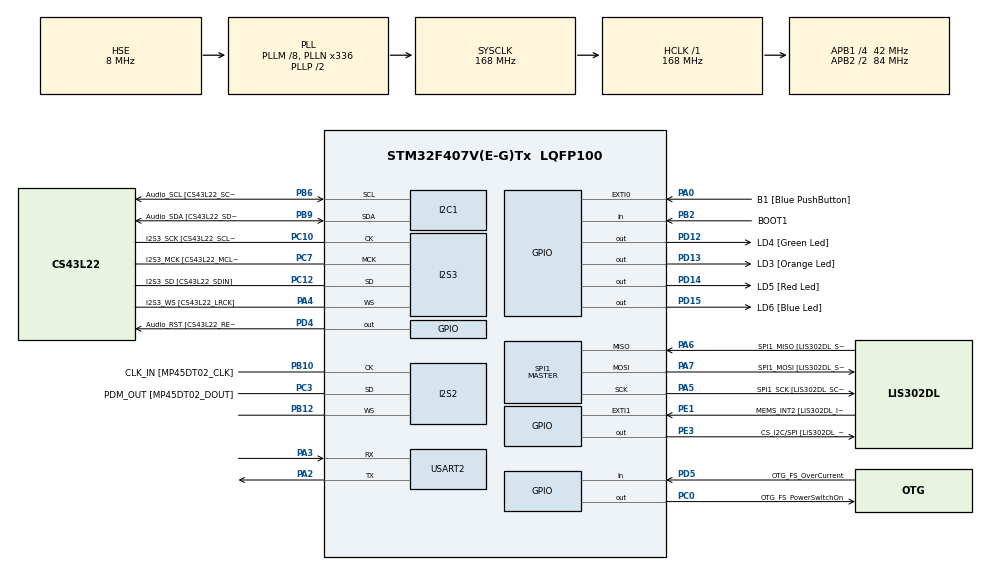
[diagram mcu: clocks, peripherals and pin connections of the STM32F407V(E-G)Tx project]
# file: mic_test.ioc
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Dma.Request0=SPI2_RX
Dma.SPI2_RX.0.Direction=DMA_PERIPH_TO_MEMORY
Dma.SPI2_RX.0.FIFOMode=DMA_FIFOMODE_DISABLE
Dma.SPI2_RX.0.Instance=DMA1_Stream3
Dma.SPI2_RX.0.MemDataAlignment=DMA_MDATAALIGN_HALFWORD
Dma.SPI2_RX.0.MemInc=DMA_MINC_ENABLE
Dma.SPI2_RX.0.Mode=DMA_CIRCULAR
Dma.SPI2_RX.0.PeriphDataAlignment=DMA_PDATAALIGN_HALFWORD
Dma.SPI2_RX.0.PeriphInc=DMA_PINC_DISABLE
Dma.SPI2_RX.0.Priority=DMA_PRIORITY_LOW
I2S2.AudioFreq=I2S_AUDIOFREQ_32K
I2S2.ErrorAudioFreq=-0.26 %
I2S2.FullDuplexMode=I2S_FULLDUPLEXMODE_DISABLE
I2S2.Instance=SPI$Index
I2S2.Mode=I2S_MODE_MASTER_RX
I2S2.RealAudioFreq=31.914 KHz
I2S2.Standard=I2S_STANDARD_LSB
I2S2.VirtualMode=I2S_MODE_MASTER
I2S3.AudioFreq-Half_Duplex_Master=I2S_AUDIOFREQ_96K
I2S3.ErrorAudioFreq=-2.34 %
I2S3.ErrorAudioFreq-Half_Duplex_Master=0.8 %
I2S3.FullDuplexMode=I2S_FULLDUPLEXMODE_DISABLE
I2S3.Instance=SPI$Index
I2S3.RealAudioFreq=93.75 KHz
I2S3.RealAudioFreq-Half_Duplex_Master=96.774 KHz
I2S3.VirtualMode=I2S_MODE_MASTER
Mcu.Family=STM32F4
Mcu.Name=STM32F407V(E-G)Tx
Mcu.Package=LQFP100
NVIC.DMA1_Stream3_IRQn=true\:0\:0\:false\:false\:true\:false\:true\:true
NVIC.PriorityGroup=NVIC_PRIORITYGROUP_0
PA0-WKUP.GPIO_Label=B1 [Blue PushButton]
PA0-WKUP.GPIO_ModeDefaultEXTI=GPIO_MODE_EVT_RISING
PA0-WKUP.GPIO_PuPd=GPIO_NOPULL
PA0-WKUP.Signal=GPXTI0
PA10.GPIO_Label=OTG_FS_ID
PA10.GPIO_Mode=GPIO_MODE_AF_PP
PA10.GPIO_PuPd=GPIO_NOPULL
PA10.GPIO_Speed=GPIO_SPEED_FREQ_LOW
PA10.Signal=USB_OTG_FS_ID
PA11.GPIO_Label=OTG_FS_DM
PA11.GPIO_Mode=GPIO_MODE_AF_PP
PA11.GPIO_PuPd=GPIO_NOPULL
PA11.GPIO_Speed=GPIO_SPEED_FREQ_LOW
PA11.Signal=USB_OTG_FS_DM
PA12.GPIO_Label=OTG_FS_DP
PA12.GPIO_Mode=GPIO_MODE_AF_PP
PA12.GPIO_PuPd=GPIO_NOPULL
PA12.GPIO_Speed=GPIO_SPEED_FREQ_LOW
PA12.Signal=USB_OTG_FS_DP
PA13.GPIO_Label=SWDIO
PA13.Mode=Serial_Wire
PA13.Signal=SYS_JTMS-SWDIO
PA14.GPIO_Label=SWCLK
PA14.Mode=Serial_Wire
PA14.Signal=SYS_JTCK-SWCLK
PA2.Mode=Asynchronous
PA2.Signal=USART2_TX
PA3.Mode=Asynchronous
PA3.Signal=USART2_RX
PA4.GPIO_Label=I2S3_WS [CS43L22_LRCK]
PA4.GPIO_Mode=GPIO_MODE_AF_PP
PA4.GPIO_PuPd=GPIO_NOPULL
PA4.GPIO_Speed=GPIO_SPEED_FREQ_LOW
PA4.Mode=Half_Duplex_Master
PA4.Signal=I2S3_WS
PA5.GPIO_Label=SPI1_SCK [LIS302DL_SCL/SPC]
PA5.GPIO_Mode=GPIO_MODE_AF_PP
PA5.GPIO_PuPd=GPIO_NOPULL
PA5.GPIO_Speed=GPIO_SPEED_FREQ_LOW
PA5.Mode=Full_Duplex_Master
PA5.Signal=SPI1_SCK
PA6.GPIO_Label=SPI1_MISO [LIS302DL_SDO]
PA6.GPIO_Mode=GPIO_MODE_AF_PP
PA6.GPIO_PuPd=GPIO_NOPULL
PA6.GPIO_Speed=GPIO_SPEED_FREQ_LOW
PA6.Mode=Full_Duplex_Master
PA6.Signal=SPI1_MISO
PA7.GPIO_Label=SPI1_MOSI [LIS302DL_SDA/SDI/SDO]
PA7.GPIO_Mode=GPIO_MODE_AF_PP
PA7.GPIO_PuPd=GPIO_NOPULL
PA7.GPIO_Speed=GPIO_SPEED_FREQ_LOW
PA7.Mode=Full_Duplex_Master
PA7.Signal=SPI1_MOSI
PA9.GPIO_Label=VBUS_FS
PA9.GPIO_Mode=GPIO_MODE_INPUT
PA9.GPIO_PuPd=GPIO_NOPULL
PA9.Signal=USB_OTG_FS_VBUS
PB10.GPIO_Label=CLK_IN [MP45DT02_CLK]
PB10.GPIO_Mode=GPIO_MODE_AF_PP
PB10.GPIO_PuPd=GPIO_NOPULL
PB10.GPIO_Speed=GPIO_SPEED_FREQ_LOW
PB10.Mode=Half_Duplex_Master
PB10.Signal=I2S2_CK
PB12.Mode=Half_Duplex_Master
PB12.Signal=I2S2_WS
PB2.GPIO_Label=BOOT1
PB2.GPIO_Mode=GPIO_MODE_INPUT
PB2.GPIO_PuPd=GPIO_NOPULL
PB2.Signal=GPIO_Input
PB3.GPIO_Label=SWO
PB3.Signal=SYS_JTDO-SWO
PB6.GPIO_Label=Audio_SCL [CS43L22_SCL]
PB6.GPIO_Mode=GPIO_MODE_AF_OD
PB6.GPIO_Pu=GPIO_PULLUP
PB6.GPIO_PuPd=GPIO_NOPULL
PB6.GPIO_Speed=GPIO_SPEED_FREQ_LOW
PB6.Mode=I2C
PB6.Signal=I2C1_SCL
PB9.GPIO_Label=Audio_SDA [CS43L22_SDA]
PB9.GPIO_Mode=GPIO_MODE_AF_OD
PB9.GPIO_Pu=GPIO_PULLUP
PB9.GPIO_PuPd=GPIO_NOPULL
PB9.GPIO_Speed=GPIO_SPEED_FREQ_LOW
PB9.Mode=I2C
PB9.Signal=I2C1_SDA
PC0.GPIO_Label=OTG_FS_PowerSwitchOn
PC0.GPIO_PuPd=GPIO_NOPULL
PC0.GPIO_Speed=GPIO_SPEED_FREQ_LOW
PC0.PinState=GPIO_PIN_SET
PC0.Signal=GPIO_Output
PC10.GPIO_Label=I2S3_SCK [CS43L22_SCLK]
PC10.GPIO_Mode=GPIO_MODE_AF_PP
PC10.GPIO_PuPd=GPIO_NOPULL
PC10.GPIO_Speed=GPIO_SPEED_FREQ_LOW
PC10.Mode=Half_Duplex_Master
PC10.Signal=I2S3_CK
PC12.GPIO_Label=I2S3_SD [CS43L22_SDIN]
PC12.GPIO_Mode=GPIO_MODE_AF_PP
PC12.GPIO_PuPd=GPIO_NOPULL
PC12.GPIO_Speed=GPIO_SPEED_FREQ_LOW
PC12.Mode=Half_Duplex_Master
PC12.Signal=I2S3_SD
PC14-OSC32_IN.GPIO_Label=PC14-OSC32_IN
PC14-OSC32_IN.Mode=LSE-External-Oscillator
PC14-OSC32_IN.Signal=RCC_OSC32_IN
PC15-OSC32_OUT.GPIO_Label=PC15-OSC32_OUT
PC15-OSC32_OUT.Mode=LSE-External-Oscillator
PC15-OSC32_OUT.Signal=RCC_OSC32_OUT
PC3.GPIO_Label=PDM_OUT [MP45DT02_DOUT]
PC3.GPIO_Mode=GPIO_MODE_AF_PP
PC3.GPIO_PuPd=GPIO_NOPULL
PC3.GPIO_Speed=GPIO_SPEED_FREQ_LOW
PC3.Mode=Half_Duplex_Master
PC3.Signal=I2S2_SD
PC7.GPIO_Label=I2S3_MCK [CS43L22_MCLK]
PC7.GPIO_Mode=GPIO_MODE_AF_PP
PC7.GPIO_PuPd=GPIO_NOPULL
PC7.GPIO_Speed=GPIO_SPEED_FREQ_LOW
PC7.Mode=Master_Clock_Activated
PC7.Signal=I2S3_MCK
PD12.GPIO_Label=LD4 [Green Led]
PD12.GPIO_PuPd=GPIO_NOPULL
PD12.GPIO_Speed=GPIO_SPEED_FREQ_LOW
PD12.Signal=GPIO_Output
PD13.GPIO_Label=LD3 [Orange Led]
PD13.GPIO_PuPd=GPIO_NOPULL
PD13.GPIO_Speed=GPIO_SPEED_FREQ_LOW
PD13.Signal=GPIO_Output
PD14.GPIO_Label=LD5 [Red Led]
PD14.GPIO_PuPd=GPIO_NOPULL
PD14.GPIO_Speed=GPIO_SPEED_FREQ_LOW
PD14.Signal=GPIO_Output
PD15.GPIO_Label=LD6 [Blue Led]
PD15.GPIO_PuPd=GPIO_NOPULL
PD15.GPIO_Speed=GPIO_SPEED_FREQ_LOW
PD15.Signal=GPIO_Output
PD4.GPIO_Label=Audio_RST [CS43L22_RESET]
PD4.GPIO_PuPd=GPIO_NOPULL
PD4.GPIO_Speed=GPIO_SPEED_FREQ_LOW
PD4.Signal=GPIO_Output
PD5.GPIO_Label=OTG_FS_OverCurrent
PD5.GPIO_Mode=GPIO_MODE_INPUT
PD5.GPIO_PuPd=GPIO_NOPULL
PD5.Signal=GPIO_Input
PDM2PCM.CHANNEL1_endianness=PDM_FILTER_ENDIANNESS_LE
PDM2PCM.CHANNEL1_in_ptr_channels=1
PDM2PCM.CHANNEL1_mic_gain=24
PDM2PCM.CHANNEL1_out_ptr_channels=1
PE1.GPIO_Label=MEMS_INT2 [LIS302DL_INT2]
PE1.GPIO_ModeDefaultEXTI=GPIO_MODE_EVT_RISING
PE1.GPIO_PuPd=GPIO_NOPULL
PE1.Signal=GPXTI1
PE3.GPIO_Label=CS_I2C/SPI [LIS302DL_CS_I2C/SPI]
PE3.GPIO_PuPd=GPIO_NOPULL
PE3.GPIO_Speed=GPIO_SPEED_FREQ_LOW
PE3.Signal=GPIO_Output
PH0-OSC_IN.GPIO_Label=PH0-OSC_IN
PH0-OSC_IN.Mode=HSE-External-Oscillator
PH0-OSC_IN.Signal=RCC_OSC_IN
PH1-OSC_OUT.GPIO_Label=PH1-OSC_OUT
PH1-OSC_OUT.Mode=HSE-External-Oscillator
PH1-OSC_OUT.Signal=RCC_OSC_OUT
ProjectManager.HeapSize=0x200
ProjectManager.StackSize=0x400
ProjectManager.TargetToolchain=STM32CubeIDE
RCC.48MHZClocksFreq_Value=48000000
RCC.AHBFreq_Value=168000000
RCC.APB1CLKDivider=RCC_HCLK_DIV4
RCC.APB1Freq_Value=42000000
RCC.APB1TimFreq_Value=84000000
RCC.APB2CLKDivider=RCC_HCLK_DIV2
RCC.APB2Freq_Value=84000000
RCC.APB2TimFreq_Value=168000000
RCC.CortexFreq_Value=168000000
RCC.HCLKFreq_Value=168000000
RCC.HSE_VALUE=8000000
RCC.HSI_VALUE=16000000
RCC.PLLM=8
RCC.PLLN=336
RCC.PLLQ=7
RCC.PLLSourceVirtual=RCC_PLLSOURCE_HSE
RCC.SYSCLKFreq_VALUE=168000000
RCC.SYSCLKSource=RCC_SYSCLKSOURCE_PLLCLK
RCC.VCOOutputFreq_Value=336000000
SPI1.BaudRatePrescaler-Full_Duplex_Master=SPI_BAUDRATEPRESCALER_2
SPI1.CalculateBaudRate-Full_Duplex_Master=42.0 MBits/s
SPI1.Direction=SPI_DIRECTION_2LINES
SPI1.Mode=SPI_MODE_MASTER
SPI1.Mode-Full_Duplex_Master=SPI_MODE_MASTER
SPI1.VirtualType=VM_MASTER
STMicroelectronics.X-CUBE-AI.10.2.1.ActivationBufferSizeList=12864
STMicroelectronics.X-CUBE-AI.10.2.1.ActivationBuffers=pool0
STMicroelectronics.X-CUBE-AI.10.2.1.ActivationNames=pool0
STMicroelectronics.X-CUBE-AI.10.2.1.ActivationSizes=AI_NETWORK_DATA_ACTIVATION_1_SIZE
STMicroelectronics.X-CUBE-AI.10.2.1.HeapSize=0x800
STMicroelectronics.X-CUBE-AI.10.2.1.InternalRamActivationBufferMaxSize=AI_NETWORK_DATA_ACTIVATIONS_SIZE
STMicroelectronics.X-CUBE-AI.10.2.1.LatestDirectoryUsed-a3b4f0d603b5952b5f44957b132e25bcf50f8aa4314544eb0166c027848e9f79=/Users/yunusgokdemir/Downloads
STMicroelectronics.X-CUBE-AI.10.2.1.MaximumNumberOfInputLayer=1
STMicroelectronics.X-CUBE-AI.10.2.1.MaximumNumberOfOutputLayer=1
STMicroelectronics.X-CUBE-AI.10.2.1.MaximumSizeOfInputLayer=1
STMicroelectronics.X-CUBE-AI.10.2.1.MaximumSizeOfOutputLayer=1
STMicroelectronics.X-CUBE-AI.10.2.1.ModelActualCompression-a3b4f0d603b5952b5f44957b132e25bcf50f8aa4314544eb0166c027848e9f79=0.0
STMicroelectronics.X-CUBE-AI.10.2.1.ModelCompression-a3b4f0d603b5952b5f44957b132e25bcf50f8aa4314544eb0166c027848e9f79=None
STMicroelectronics.X-CUBE-AI.10.2.1.ModelFlashOccupation-a3b4f0d603b5952b5f44957b132e25bcf50f8aa4314544eb0166c027848e9f79=15112
STMicroelectronics.X-CUBE-AI.10.2.1.ModelHashList=a3b4f0d603b5952b5f44957b132e25bcf50f8aa4314544eb0166c027848e9f79
STMicroelectronics.X-CUBE-AI.10.2.1.ModelKind-a3b4f0d603b5952b5f44957b132e25bcf50f8aa4314544eb0166c027848e9f79=TFLITE
STMicroelectronics.X-CUBE-AI.10.2.1.ModelMacc-a3b4f0d603b5952b5f44957b132e25bcf50f8aa4314544eb0166c027848e9f79=1615072
STMicroelectronics.X-CUBE-AI.10.2.1.ModelName-a3b4f0d603b5952b5f44957b132e25bcf50f8aa4314544eb0166c027848e9f79=network
STMicroelectronics.X-CUBE-AI.10.2.1.ModelNameList=network
STMicroelectronics.X-CUBE-AI.10.2.1.ModelRamOccupation-a3b4f0d603b5952b5f44957b132e25bcf50f8aa4314544eb0166c027848e9f79=12864
STMicroelectronics.X-CUBE-AI.10.2.1.ModelStructureFile-a3b4f0d603b5952b5f44957b132e25bcf50f8aa4314544eb0166c027848e9f79=/Users/yunusgokdemir/Downloads/kws_int8_v3.tflite
STMicroelectronics.X-CUBE-AI.10.2.1.ModelType-a3b4f0d603b5952b5f44957b132e25bcf50f8aa4314544eb0166c027848e9f79=STM32Cube.AI MCU runtime
STMicroelectronics.X-CUBE-AI.10.2.1.ReadyForCodeGeneration=true
STMicroelectronics.X-CUBE-AI.10.2.1.StackSize=0x800
STMicroelectronics.X-CUBE-AI.10.2.1.WorkingBufferStartAddrList=0xFFFFFFFF
STMicroelectronics.X-CUBE-AI.10.2.1.XAaCUBEAaAICcArtificialOoIntelligenceJjCore=true
STMicroelectronics.X-CUBE-AI.10.2.1.copyWeightToRam=false
STMicroelectronics.X-CUBE-AI.10.2.1.customLayerConfigEnabled=false
STMicroelectronics.X-CUBE-AI.10.2.1.noOnnxIoTranspose=false
STMicroelectronics.X-CUBE-AI.10.2.1.useInputAllocation=true
STMicroelectronics.X-CUBE-AI.10.2.1.useOutputAllocation=true
USART2.VirtualMode=VM_ASYNC
VP_CRC_VS_CRC.Mode=CRC_Activate
VP_PDM2PCM_VS_PDM2PCM.Mode=PDM2PCM_Channel
VP_STMicroelectronics.X-CUBE-AI_VS_ArtificialOoIntelligenceJjXAaCUBEAaAI_10.2.1.Mode=ArtificialOoIntelligenceJjXAaCUBEAaAI
board=STM32F407G-DISC1

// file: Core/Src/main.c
/* USER CODE BEGIN Header */
/**
  ******************************************************************************
  * @file           : main.c
  * @brief          : Main program body
  ******************************************************************************
  * @attention
  *
  * Copyright (c) 2026 STMicroelectronics.
  * All rights reserved.
  *
  * This software is licensed under terms that can be found in the LICENSE file
  * in the root directory of this software component.
  * If no LICENSE file comes with this software, it is provided AS-IS.
  *
  ******************************************************************************
  */
/* USER CODE END Header */
#include "main.h"
#include "pdm2pcm.h"

/* USER CODE BEGIN Includes */
#include <stdio.h>
#include <stdlib.h>
#include "mfcc.h"
#include "kws_model.h"
/* USER CODE END Includes */

CRC_HandleTypeDef hcrc;

I2C_HandleTypeDef hi2c1;

I2S_HandleTypeDef hi2s2;
I2S_HandleTypeDef hi2s3;
DMA_HandleTypeDef hdma_spi2_rx;

SPI_HandleTypeDef hspi1;

UART_HandleTypeDef huart2;

/* USER CODE BEGIN PV */
/* ---- Tampon boyutları ------------------------------------------------------
 * DMA tamponu : 2048 paket (16 bit), iki yarı x 1024 paket
 * PDM2PCM     : her çağrıda 64 paket (1024 PDM biti) alır, 16 ses örneği (1 ms) verir
 * Bir yarı    : 1024 / 64 = 16 çağrı -> 16 x 16 = 256 ses örneği (16 ms)
 */
#define PDM_BUF_LEN      2048u
#define PDM_WORDS_PER_MS 64u
#define PCM_PER_MS       16u
#define PCM_PER_HALF     256u
#define REC_LEN          16000u          /* 1 saniye @ 16 kHz */

uint16_t pdm_buf[PDM_BUF_LEN];           /* DMA'nın mikrofon bitlerini yazdığı tampon */
int16_t  pcm_half[PCM_PER_HALF];         /* son yarım tamponun GERÇEK sesi (16 kHz)   */
int16_t  rec_buf[REC_LEN];               /* 1 saniyelik kayıt (32 KB RAM)             */

volatile uint8_t  g_rec_done   = 0;      /* 1 = 1 sn'lik pencere hazır, işlenmeyi bekliyor */

/* ---- Sesle tetiklenen kayıt (VAD) ------------------------------------------
 * Kart sürekli dinler, son 1,25 sn'yi halka tamponda tutar. Seviye tabanın
 * 2,5 katını geçince "konuşma başladı" der ve konuşmanın 250 ms öncesinden
 * başlayan 1 sn'lik pencereyi modele verir. Böylece kelime pencerenin ortasına düşer.
 */
#define RING_LEN      20000u    /* 1,25 sn halka tampon                        */
#define PRE_ROLL       4000u    /* konuşmanın 250 ms öncesini de al            */
#define VAD_ON_X10       45u    /* taban seviyenin 4,5 katı = konuşma olabilir  */
#define VAD_MIN_BLK       6u    /* eşik arka arkaya 6 blok (~96 ms) aşılmalı    */
#define COOLDOWN_BLK     20u    /* sonuçtan sonra ~320 ms dinlemeye ara ver     */
#define CONF_MIN         70     /* %70'in altındaki tahminler "emin değil"      */

/* ---- Yanlış kabulü azaltan kapılar (L5) ----------------------------------
 * Komutlar tek kelimelik ve öncesi/sonrası sessiz; sohbet ise akıcı ve uzun. */
#define SND_X10          35u    /* "ses var" sayılan seviye: tabanın 3,5 katı       */
#define PRE_MAX_ACTIVE    4u    /* öncesindeki 16 blokta en fazla 4 gürültü bloğu   */
#define POST_MAX_ACTIVE   2u    /* son 5 blokta en fazla 2 ses bloğu                */
#define HOLD_MAX_ACTIVE   2u    /* bekleme: son 12 blokta en fazla 2 ses bloğu      */
#define PRE_QUIET_BLK    16u    /* tetikten önceki ~256 ms sessiz olmalı            */
#define EDGE_SKIP_BLK     3u    /* kelimenin yükselen kenarı (~48 ms) kontrol dışı */
#define POST_QUIET_BLK    5u    /* pencerenin son ~80 ms'i sessiz olmalı (kısa söz) */
#define HOLD_QUIET_BLK   12u    /* reddedince ~200 ms sessizlik gelene kadar bekle  */
#define MARGIN_MIN       40     /* en iyi iki tahmin arasında en az 40 puan fark    */

/* 1 = VERİ TOPLAMA modu: mavi düğmeye bas -> 0,4 sn sonra turuncu LED yanar ->
 *     sonraki 3 sn içindeki İLK konuşma yakalanıp Mac'e gönderilir.
 * 0 = DEMO modu: sürekli dinler, tanır, LED yakar (mavi düğme debug gönderimini açar/kapatır). */
#define RECORD_MODE       0

enum { ST_WAIT, ST_IDLE, ST_CAPTURE, ST_BUSY, ST_COOLDOWN, ST_HOLD };

int16_t ring[RING_LEN];                  /* son 1,25 sn'lik ses                      */
volatile uint32_t total_samples = 0;     /* açılıştan beri gelen toplam örnek sayısı */
volatile uint8_t  vad_state     = ST_WAIT;
volatile uint32_t cap_start     = 0;     /* yakalanan pencerenin başlangıç örneği    */
volatile uint32_t cooldown      = 0;
volatile uint32_t g_trig_ratio  = 0;     /* tetiklendiği andaki seviye oranı x10     */
volatile uint32_t on_blocks     = 0;     /* eşiğin arka arkaya aşıldığı blok sayısı  */
volatile uint32_t g_idle_peak   = 0;     /* dinlerken görülen en yüksek oran x10     */
volatile uint32_t g_hist        = 0;     /* son 32 bloğun ses geçmişi (1 = ses var)   */
volatile uint32_t g_rej_pre     = 0;     /* red: öncesinde sessizlik yok (cümle ortası) */
volatile uint32_t g_rej_long    = 0;     /* red: konuşma pencereden uzun (cümle)      */
volatile uint32_t g_last_pre    = 0;     /* son redde öncesindeki dolu blok sayısı     */
volatile uint32_t g_last_post   = 0;     /* son redde sondaki dolu blok sayısı         */
volatile int32_t  g_base_acc    = 0;     /* taban x 64 (küçük değişimler kaybolmasın) */
volatile uint8_t  g_send_debug  = 0;     /* 1 = sesi ve MFCC'yi de Mac'e gönder      */
uint32_t led_off_at = 0;                 /* LED'lerin söneceği zaman (ms)            */
uint32_t arm_at      = 0;                /* kayıt modu: dinlemenin başlayacağı zaman */
uint32_t armed_until = 0;                /* kayıt modu: dinlemenin biteceği zaman    */

volatile uint32_t g_blocks  = 0;         /* işlenen yarım tampon sayısı            */
volatile uint32_t g_level   = 0;         /* anlık ses seviyesi (ortalama |örnek|)   */
volatile uint32_t g_base    = 0;         /* sessiz ortamın seviyesi (taban)         */
volatile uint32_t g_ratio10 = 0;         /* anlık / taban oranı x 10               */
volatile uint32_t g_peak10  = 10;        /* tepe değeri: hızlı yükselir, yavaş iner */
volatile uint32_t g_proc_cycles = 0;     /* bir yarım tamponu işleme süresi (çevrim) */

extern PDM_Filter_Handler_t PDM1_filter_handler;  /* pdm2pcm.c'de tanımlı */

float mfcc_out[MFCC_OUT_FRAMES * MFCC_OUT_COEF];   /* kaydın MFCC'si: 49 x 10 */
/* USER CODE END PV */

void SystemClock_Config(void);
void PeriphCommonClock_Config(void);
static void MX_GPIO_Init(void);
static void MX_DMA_Init(void);
static void MX_I2C1_Init(void);
static void MX_I2S2_Init(void);
static void MX_I2S3_Init(void);
static void MX_SPI1_Init(void);
static void MX_USART2_UART_Init(void);
static void MX_CRC_Init(void);

/* USER CODE BEGIN 0 */

/* printf köprüsü: her karakteri USART2'den gönder */
int __io_putchar(int ch)
{
  HAL_UART_Transmit(&huart2, (uint8_t *)&ch, 1, HAL_MAX_DELAY);
  return ch;
}

/* Çevrim sayacı (kronometre): işleme süresini ölçmek için */
static void dwt_init(void)
{
  CoreDebug->DEMCR |= CoreDebug_DEMCR_TRCENA_Msk;
  DWT->CYCCNT = 0;
  DWT->CTRL  |= DWT_CTRL_CYCCNTENA_Msk;
}

/* Bir yarım tamponu işle: PDM bitleri -> gerçek ses -> seviye (+ kayıt) */
static void process_half(const uint16_t *src)
{
  uint32_t t0 = DWT->CYCCNT;
  uint16_t tmp[PDM_WORDS_PER_MS];

  /* 1) PDM -> PCM: 16 parça x (64 paket -> 16 ses örneği) */
  for (uint32_t c = 0; c < PCM_PER_HALF / PCM_PER_MS; c++) {
    /* ST'nin örneğindeki gibi her 16 bitlik paketin iki byte'ının yerini değiştir */
    for (uint32_t j = 0; j < PDM_WORDS_PER_MS; j++)
      tmp[j] = (uint16_t)__REV16(src[c * PDM_WORDS_PER_MS + j]);
    PDM_Filter(tmp, &pcm_half[c * PCM_PER_MS], &PDM1_filter_handler);
  }

  /* 2) Ses seviyesi: örneklerin mutlak değerlerinin ortalaması */
  uint32_t sumabs = 0;
  for (uint32_t i = 0; i < PCM_PER_HALF; i++)
    sumabs += (uint32_t)abs(pcm_half[i]);
  g_level = sumabs / PCM_PER_HALF;

  /* 3) Sesi halka tampona yaz */
  for (uint32_t i = 0; i < PCM_PER_HALF; i++)
    ring[(total_samples + i) % RING_LEN] = pcm_half[i];
  total_samples += PCM_PER_HALF;

  /* 4) Ses algılama (VAD) durum makinesi */
  uint32_t ratio = g_base ? (g_level * 10u) / g_base : 0;
  g_hist = (g_hist << 1) | (ratio >= SND_X10 ? 1u : 0u);   /* ses geçmişi */

  switch (vad_state) {
    case ST_IDLE:                                   /* dinliyor, konuşma bekliyor */
      if (ratio > g_idle_peak) g_idle_peak = ratio; /* sessizlik istatistiği */
      if (ratio >= VAD_ON_X10) {
        if (++on_blocks >= VAD_MIN_BLK) {           /* yeterince uzun sürdü: konuşma */
#if !RECORD_MODE
          /* KAPI 1: kelimeden önce sessizlik var mı? Yoksa bu bir cümlenin ortası. */
          uint32_t before = (g_hist >> (VAD_MIN_BLK + EDGE_SKIP_BLK)) & ((1u << PRE_QUIET_BLK) - 1u);
          uint32_t n_before = (uint32_t)__builtin_popcount(before);
          if (n_before > PRE_MAX_ACTIVE) {
            g_last_pre = n_before;
            g_rej_pre++;
            on_blocks = 0;
            vad_state = ST_HOLD;                    /* konuşma bitene kadar bekle */
            break;
          }
#endif
          cap_start = total_samples - VAD_MIN_BLK * PCM_PER_HALF - PRE_ROLL;
          g_trig_ratio = ratio;
          on_blocks = 0;
          vad_state = ST_CAPTURE;
        }
      } else {
        on_blocks = 0;
        /* Uyarlanan taban: ortam sessizken taban yavaşça ortama uyar (~1 sn) */
        if (ratio < 20u) {
          int32_t d = (int32_t)g_level - g_base_acc / 64;
          g_base_acc += (d < 0) ? d * 4 : d / 4;   /* inerken hızlı, çıkarken yavaş */
          int32_t nb = g_base_acc / 64;
          g_base = (nb < 1) ? 1u : (uint32_t)nb;
        }
      }
      break;
    case ST_CAPTURE:                                /* pencere dolana kadar bekle */
      if (total_samples >= cap_start + REC_LEN) {
#if !RECORD_MODE
        /* KAPI 2: pencerenin sonunda hâlâ konuşma var mı? Varsa bu bir cümle. */
        uint32_t n_after = (uint32_t)__builtin_popcount(g_hist & ((1u << POST_QUIET_BLK) - 1u));
        if (n_after > POST_MAX_ACTIVE) {
          g_last_post = n_after;
          g_rej_long++;
          vad_state = ST_HOLD;
          break;
        }
#endif
        for (uint32_t i = 0; i < REC_LEN; i++)
          rec_buf[i] = ring[(cap_start + i) % RING_LEN];
        g_rec_done = 1;
        vad_state = ST_BUSY;                        /* ana döngü işleyecek */
      }
      break;
    case ST_HOLD:                                   /* sessizlik gelene kadar bekle */
      if ((uint32_t)__builtin_popcount(g_hist & ((1u << HOLD_QUIET_BLK) - 1u)) <= HOLD_MAX_ACTIVE)
        vad_state = ST_IDLE;
      break;
    case ST_COOLDOWN:                               /* kısa ara, sonra tekrar dinle */
      if (cooldown) cooldown--;
      else          vad_state = ST_IDLE;
      break;
    default:                                        /* ST_WAIT, ST_BUSY */
      break;
  }

  g_blocks++;
  g_proc_cycles = DWT->CYCCNT - t0;
}

/* Tahmini LED'lerle göster (LED'ler kartta çember şeklinde):
 *   yeşil = sol (LD4), turuncu = üst (LD3), kırmızı = sağ (LD5), mavi = alt (LD6)
 * Sınıf sırası: 0 down, 1 go, 2 left, 3 no, 4 right, 5 stop, 6 up, 7 yes */
static void show_result(int k)
{
  static const uint16_t led_for[KWS_NCLASS] = {
    LD6_Pin,                             /* down  -> alt           */
    LD4_Pin | LD5_Pin,                   /* go    -> sol + sağ     */
    LD4_Pin,                             /* left  -> sol           */
    0,                                   /* no    -> hiçbiri       */
    LD5_Pin,                             /* right -> sağ           */
    LD3_Pin | LD6_Pin,                   /* stop  -> üst + alt     */
    LD3_Pin,                             /* up    -> üst           */
    LD3_Pin | LD4_Pin | LD5_Pin | LD6_Pin /* yes -> hepsi          */
  };
  HAL_GPIO_WritePin(GPIOD, LD3_Pin | LD4_Pin | LD5_Pin | LD6_Pin, GPIO_PIN_RESET);
  if (led_for[k]) HAL_GPIO_WritePin(GPIOD, led_for[k], GPIO_PIN_SET);
  led_off_at = HAL_GetTick() + 1500;     /* 1,5 sn sonra söndür */
}

/* DMA: tamponun ilk yarısı doldu -> ilk yarıyı işle (DMA şu an ikinci yarıya yazıyor) */
void HAL_I2S_RxHalfCpltCallback(I2S_HandleTypeDef *hi2s)
{
  if (hi2s->Instance == SPI2)
    process_half(&pdm_buf[0]);
}

/* DMA: tamponun ikinci yarısı doldu -> ikinci yarıyı işle (DMA başa döndü) */
void HAL_I2S_RxCpltCallback(I2S_HandleTypeDef *hi2s)
{
  if (hi2s->Instance == SPI2)
    process_half(&pdm_buf[PDM_BUF_LEN / 2]);
}

/* USER CODE END 0 */

int main(void)
{

  /* MCU Configuration--------------------------------------------------------*/

  /* Reset of all peripherals, Initializes the Flash interface and the Systick. */
  HAL_Init();

  /* Configure the system clock */
  SystemClock_Config();

  /* Configure the peripherals common clocks */
  PeriphCommonClock_Config();

  /* Initialize all configured peripherals */
  MX_GPIO_Init();
  MX_DMA_Init();
  MX_I2C1_Init();
  MX_I2S2_Init();
  MX_I2S3_Init();
  MX_SPI1_Init();
  MX_USART2_UART_Init();
  MX_CRC_Init();
  MX_PDM2PCM_Init();
  /* USER CODE BEGIN 2 */
  setvbuf(stdout, NULL, _IONBF, 0);   /* printf beklemeden hemen göndersin */
  dwt_init();
  mfcc_init();
  printf("\r\n[mic_test L6] basladi, SYSCLK = %lu Hz\r\n", (unsigned long)SystemCoreClock);

  HAL_I2S_Receive_DMA(&hi2s2, pdm_buf, PDM_BUF_LEN);   /* mikrofonu dinlemeye başla */

  /* İlk ~0,5 sn: mikrofonun ve süzgecin açılış geçişi, yok say */
  uint32_t seen = g_blocks;
  while (g_blocks < seen + 32) {}

  /* Sonraki ~0,5 sn: ortam SESSİZKEN taban seviyeyi ölç */
  seen = g_blocks;
  uint32_t acc = 0;
  for (int k = 0; k < 32; k++) {
    while (g_blocks == seen) {}        /* yeni yarım tampon bekle */
    seen = g_blocks;
    acc += g_level;
  }
  g_base = acc / 32;
  if (g_base == 0) g_base = 1;         /* sıfıra bölmeyi önle */
  g_base_acc = (int32_t)g_base * 64;
  printf("taban olculdu: g_base = %lu\r\n", (unsigned long)g_base);
  if (kws_init() == 0) printf("MODEL: hazir\r\n");
  else                 printf("MODEL: baslatilamadi!\r\n");
#if RECORD_MODE
  g_send_debug = 1;
  vad_state = ST_WAIT;                 /* düğme beklenir */
  printf("KAYIT MODU: mavi dugmeye bas, turuncu LED yaninca kelimeyi soyle\r\n");
#else
  vad_state = ST_IDLE;                 /* dinlemeye başla */
  printf("DINLIYOR: bir kelime soyle (yes, no, up, down, left, right, go, stop)\r\n");
  printf("(Mavi dugme: sesi ve MFCC'yi Mac'e gonderme modunu acar/kapatir)\r\n");
#endif
  /* USER CODE END 2 */

  /* Infinite loop */
  while (1)
  {

    /* USER CODE BEGIN 3 */
    /* ---- Mavi düğme: hata ayıklama gönderimini aç/kapa ---- */
    static GPIO_PinState prev_btn = GPIO_PIN_RESET;
    GPIO_PinState btn = HAL_GPIO_ReadPin(B1_GPIO_Port, B1_Pin);
    if (btn == GPIO_PIN_SET && prev_btn == GPIO_PIN_RESET) {
#if RECORD_MODE
      if (vad_state == ST_WAIT && !g_rec_done && !arm_at) {
        arm_at = HAL_GetTick() + 400;              /* düğmenin tık sesini atla */
        HAL_GPIO_WritePin(GPIOD, LD3_Pin | LD4_Pin | LD5_Pin | LD6_Pin, GPIO_PIN_RESET);
      }
#else
      g_send_debug ^= 1;
      printf("DEBUG gonderim: %s\r\n", g_send_debug ? "ACIK" : "KAPALI");
#endif
    }
    prev_btn = btn;

#if RECORD_MODE
    /* 0,4 sn doldu: dinlemeye başla, turuncu LED = "SÖYLE" */
    if (arm_at && HAL_GetTick() >= arm_at) {
      arm_at = 0;
      on_blocks = 0;
      armed_until = HAL_GetTick() + 3000;
      vad_state = ST_IDLE;
      HAL_GPIO_WritePin(GPIOD, LD3_Pin, GPIO_PIN_SET);
    }
    /* 3 sn içinde konuşma gelmediyse vazgeç */
    if (armed_until && vad_state == ST_IDLE && HAL_GetTick() >= armed_until) {
      vad_state = ST_WAIT;
      armed_until = 0;
      HAL_GPIO_WritePin(GPIOD, LD3_Pin, GPIO_PIN_RESET);
      printf("ZAMAN ASIMI: konusma algilanmadi\r\n");
    }
#endif

    /* ---- Konuşma yakalandıysa: MFCC -> model -> karar ---- */
    if (g_rec_done) {
      uint32_t t0 = DWT->CYCCNT;
      for (int f = 0; f < MFCC_OUT_FRAMES; f++)
        mfcc_frame(&rec_buf[f * MFCC_FRAME_HOP], &mfcc_out[f * MFCC_OUT_COEF]);
      uint32_t mfcc_us = (DWT->CYCCNT - t0) / (SystemCoreClock / 1000000u);

      int8_t sc[KWS_NCLASS];
      uint32_t t1 = DWT->CYCCNT;
      int best = kws_run(mfcc_out, sc);
      uint32_t model_us = (DWT->CYCCNT - t1) / (SystemCoreClock / 1000000u);

      if (best < 0) {
        printf("TAHMIN: model hatasi!\r\n");
      } else {
        /* en yüksek 3 skor */
        int top[3];
        for (int r = 0; r < 3; r++) {
          int b = -1;
          for (int k = 0; k < KWS_NCLASS; k++) {
            int used = 0;
            for (int j = 0; j < r; j++) if (top[j] == k) used = 1;
            if (!used && (b < 0 || sc[k] > sc[b])) b = k;
          }
          top[r] = b;
        }
        int conf   = kws_pct(sc[best]);
        int margin = conf - kws_pct(sc[top[1]]);          /* KAPI 3: kararlılık farkı */
        if (best >= KWS_NKEYWORD) {
          /* Model "komut değil" dedi: sessizlik ya da bilinmeyen kelime */
          printf("KOMUT DEGIL (%-10s %3d%%)", KWS_LABELS[best], conf);
        } else if (conf >= CONF_MIN && margin >= MARGIN_MIN) {
          show_result(best);
          printf("TAHMIN: %-5s %3d%%", KWS_LABELS[best], conf);
        } else {
          printf("EMIN DEGIL     ");
        }
        printf(" | ilk 3: %s=%d%% %s=%d%% %s=%d%% | ses x%lu.%lu | mfcc=%lu us model=%lu us\r\n",
               KWS_LABELS[top[0]], kws_pct(sc[top[0]]),
               KWS_LABELS[top[1]], kws_pct(sc[top[1]]),
               KWS_LABELS[top[2]], kws_pct(sc[top[2]]),
               (unsigned long)(g_trig_ratio / 10), (unsigned long)(g_trig_ratio % 10),
               (unsigned long)mfcc_us, (unsigned long)model_us);
      }

      /* İstenirse doğrulama için sesi ve MFCC'yi de gönder */
      if (g_send_debug) {
        printf("BEGIN %u\r\n", (unsigned)REC_LEN);
        HAL_UART_Transmit(&huart2, (uint8_t *)rec_buf, REC_LEN * 2, HAL_MAX_DELAY);
        printf("\r\nMFCC %u\r\n", (unsigned)(MFCC_OUT_FRAMES * MFCC_OUT_COEF));
        HAL_UART_Transmit(&huart2, (uint8_t *)mfcc_out, sizeof(mfcc_out), HAL_MAX_DELAY);
        printf("\r\nEND mfcc_49_pencere_us=%lu\r\n", (unsigned long)mfcc_us);
      }

      g_rec_done = 0;
#if RECORD_MODE
      armed_until = 0;
      vad_state   = ST_WAIT;             /* bir sonraki düğmeyi bekle */
      HAL_GPIO_WritePin(GPIOD, LD3_Pin | LD4_Pin | LD5_Pin | LD6_Pin, GPIO_PIN_RESET);
      led_off_at  = 0;
#else
      cooldown   = COOLDOWN_BLK;
      vad_state  = ST_COOLDOWN;          /* kısa ara, sonra tekrar dinle */
#endif
    }

    /* ---- Dinlerken her 2 sn'de bir sessizlik istatistiği ---- */
    static uint32_t next_stat = 0;
    if (!RECORD_MODE && vad_state == ST_IDLE && HAL_GetTick() >= next_stat) {
      next_stat = HAL_GetTick() + 2000;
      printf("dinliyor | son 2 sn en yuksek oran x%lu.%lu (esik x%lu.%lu) | taban %lu\r\n",
             (unsigned long)(g_idle_peak / 10), (unsigned long)(g_idle_peak % 10),
             (unsigned long)(VAD_ON_X10 / 10), (unsigned long)(VAD_ON_X10 % 10),
             (unsigned long)g_base);
      g_idle_peak = 0;
    }

    /* ---- Kapıların reddettiklerini yaz (ayar yaparken işe yarar) ---- */
    static uint32_t seen_pre = 0, seen_long = 0;
    if (g_rej_pre != seen_pre) {
      seen_pre = g_rej_pre;
      printf("RED: cumlenin ortasi (oncesi %lu/16 blok dolu)  [toplam %lu]\r\n", (unsigned long)g_last_pre, (unsigned long)seen_pre);
    }
    if (g_rej_long != seen_long) {
      seen_long = g_rej_long;
      printf("RED: uzun konusma (son %lu/5 blok dolu)  [toplam %lu]\r\n", (unsigned long)g_last_post, (unsigned long)seen_long);
    }

    /* ---- LED'leri zamanı gelince söndür ---- */
    if (led_off_at && HAL_GetTick() >= led_off_at) {
      HAL_GPIO_WritePin(GPIOD, LD3_Pin | LD4_Pin | LD5_Pin | LD6_Pin, GPIO_PIN_RESET);
      led_off_at = 0;
    }

    HAL_Delay(10);
  }
  /* USER CODE END 3 */
}

void SystemClock_Config(void)
{
  RCC_OscInitTypeDef RCC_OscInitStruct = {0};
  RCC_ClkInitTypeDef RCC_ClkInitStruct = {0};

  /** Configure the main internal regulator output voltage
  */
  __HAL_RCC_PWR_CLK_ENABLE();
  __HAL_PWR_VOLTAGESCALING_CONFIG(PWR_REGULATOR_VOLTAGE_SCALE1);

  /** Initializes the RCC Oscillators according to the specified parameters
  * in the RCC_OscInitTypeDef structure.
  */
  RCC_OscInitStruct.OscillatorType = RCC_OSCILLATORTYPE_HSE;
  RCC_OscInitStruct.HSEState = RCC_HSE_ON;
  RCC_OscInitStruct.PLL.PLLState = RCC_PLL_ON;
  RCC_OscInitStruct.PLL.PLLSource = RCC_PLLSOURCE_HSE;
  RCC_OscInitStruct.PLL.PLLM = 8;
  RCC_OscInitStruct.PLL.PLLN = 336;
  RCC_OscInitStruct.PLL.PLLP = RCC_PLLP_DIV2;
  RCC_OscInitStruct.PLL.PLLQ = 7;
  if (HAL_RCC_OscConfig(&RCC_OscInitStruct) != HAL_OK)
  {
    Error_Handler();
  }

  /** Initializes the CPU, AHB and APB buses clocks
  */
  RCC_ClkInitStruct.ClockType = RCC_CLOCKTYPE_HCLK|RCC_CLOCKTYPE_SYSCLK
                              |RCC_CLOCKTYPE_PCLK1|RCC_CLOCKTYPE_PCLK2;
  RCC_ClkInitStruct.SYSCLKSource = RCC_SYSCLKSOURCE_PLLCLK;
  RCC_ClkInitStruct.AHBCLKDivider = RCC_SYSCLK_DIV1;
  RCC_ClkInitStruct.APB1CLKDivider = RCC_HCLK_DIV4;
  RCC_ClkInitStruct.APB2CLKDivider = RCC_HCLK_DIV2;

  if (HAL_RCC_ClockConfig(&RCC_ClkInitStruct, FLASH_LATENCY_5) != HAL_OK)
  {
    Error_Handler();
  }
}

void PeriphCommonClock_Config(void)
{
  RCC_PeriphCLKInitTypeDef PeriphClkInitStruct = {0};

  /** Initializes the peripherals clock
  */
  PeriphClkInitStruct.PeriphClockSelection = RCC_PERIPHCLK_I2S;
  PeriphClkInitStruct.PLLI2S.PLLI2SN = 192;
  PeriphClkInitStruct.PLLI2S.PLLI2SR = 2;
  if (HAL_RCCEx_PeriphCLKConfig(&PeriphClkInitStruct) != HAL_OK)
  {
    Error_Handler();
  }
}

static void MX_CRC_Init(void)
{

  hcrc.Instance = CRC;
  if (HAL_CRC_Init(&hcrc) != HAL_OK)
  {
    Error_Handler();
  }
  __HAL_CRC_DR_RESET(&hcrc);

}

static void MX_I2C1_Init(void)
{

  hi2c1.Instance = I2C1;
  hi2c1.Init.ClockSpeed = 100000;
  hi2c1.Init.DutyCycle = I2C_DUTYCYCLE_2;
  hi2c1.Init.OwnAddress1 = 0;
  hi2c1.Init.AddressingMode = I2C_ADDRESSINGMODE_7BIT;
  hi2c1.Init.DualAddressMode = I2C_DUALADDRESS_DISABLE;
  hi2c1.Init.OwnAddress2 = 0;
  hi2c1.Init.GeneralCallMode = I2C_GENERALCALL_DISABLE;
  hi2c1.Init.NoStretchMode = I2C_NOSTRETCH_DISABLE;
  if (HAL_I2C_Init(&hi2c1) != HAL_OK)
  {
    Error_Handler();
  }

}

static void MX_I2S2_Init(void)
{

  hi2s2.Instance = SPI2;
  hi2s2.Init.Mode = I2S_MODE_MASTER_RX;
  hi2s2.Init.Standard = I2S_STANDARD_LSB;
  hi2s2.Init.DataFormat = I2S_DATAFORMAT_16B;
  hi2s2.Init.MCLKOutput = I2S_MCLKOUTPUT_DISABLE;
  hi2s2.Init.AudioFreq = I2S_AUDIOFREQ_32K;
  hi2s2.Init.CPOL = I2S_CPOL_LOW;
  hi2s2.Init.ClockSource = I2S_CLOCK_PLL;
  hi2s2.Init.FullDuplexMode = I2S_FULLDUPLEXMODE_DISABLE;
  if (HAL_I2S_Init(&hi2s2) != HAL_OK)
  {
    Error_Handler();
  }

}

static void MX_I2S3_Init(void)
{

  hi2s3.Instance = SPI3;
  hi2s3.Init.Mode = I2S_MODE_MASTER_TX;
  hi2s3.Init.Standard = I2S_STANDARD_PHILIPS;
  hi2s3.Init.DataFormat = I2S_DATAFORMAT_16B;
  hi2s3.Init.MCLKOutput = I2S_MCLKOUTPUT_ENABLE;
  hi2s3.Init.AudioFreq = I2S_AUDIOFREQ_96K;
  hi2s3.Init.CPOL = I2S_CPOL_LOW;
  hi2s3.Init.ClockSource = I2S_CLOCK_PLL;
  hi2s3.Init.FullDuplexMode = I2S_FULLDUPLEXMODE_DISABLE;
  if (HAL_I2S_Init(&hi2s3) != HAL_OK)
  {
    Error_Handler();
  }

}

static void MX_SPI1_Init(void)
{

  /* SPI1 parameter configuration*/
  hspi1.Instance = SPI1;
  hspi1.Init.Mode = SPI_MODE_MASTER;
  hspi1.Init.Direction = SPI_DIRECTION_2LINES;
  hspi1.Init.DataSize = SPI_DATASIZE_8BIT;
  hspi1.Init.CLKPolarity = SPI_POLARITY_LOW;
  hspi1.Init.CLKPhase = SPI_PHASE_1EDGE;
  hspi1.Init.NSS = SPI_NSS_SOFT;
  hspi1.Init.BaudRatePrescaler = SPI_BAUDRATEPRESCALER_2;
  hspi1.Init.FirstBit = SPI_FIRSTBIT_MSB;
  hspi1.Init.TIMode = SPI_TIMODE_DISABLE;
  hspi1.Init.CRCCalculation = SPI_CRCCALCULATION_DISABLE;
  hspi1.Init.CRCPolynomial = 10;
  if (HAL_SPI_Init(&hspi1) != HAL_OK)
  {
    Error_Handler();
  }

}

static void MX_USART2_UART_Init(void)
{

  huart2.Instance = USART2;
  huart2.Init.BaudRate = 115200;
  huart2.Init.WordLength = UART_WORDLENGTH_8B;
  huart2.Init.StopBits = UART_STOPBITS_1;
  huart2.Init.Parity = UART_PARITY_NONE;
  huart2.Init.Mode = UART_MODE_TX_RX;
  huart2.Init.HwFlowCtl = UART_HWCONTROL_NONE;
  huart2.Init.OverSampling = UART_OVERSAMPLING_16;
  if (HAL_UART_Init(&huart2) != HAL_OK)
  {
    Error_Handler();
  }

}

static void MX_DMA_Init(void)
{

  /* DMA controller clock enable */
  __HAL_RCC_DMA1_CLK_ENABLE();

  /* DMA interrupt init */
  /* DMA1_Stream3_IRQn interrupt configuration */
  HAL_NVIC_SetPriority(DMA1_Stream3_IRQn, 0, 0);
  HAL_NVIC_EnableIRQ(DMA1_Stream3_IRQn);

}

static void MX_GPIO_Init(void)
{
  GPIO_InitTypeDef GPIO_InitStruct = {0};

  /* GPIO Ports Clock Enable */
  __HAL_RCC_GPIOE_CLK_ENABLE();
  __HAL_RCC_GPIOC_CLK_ENABLE();
  __HAL_RCC_GPIOH_CLK_ENABLE();
  __HAL_RCC_GPIOA_CLK_ENABLE();
  __HAL_RCC_GPIOB_CLK_ENABLE();
  __HAL_RCC_GPIOD_CLK_ENABLE();

  /*Configure GPIO pin Output Level */
  HAL_GPIO_WritePin(CS_I2C_SPI_GPIO_Port, CS_I2C_SPI_Pin, GPIO_PIN_RESET);

  /*Configure GPIO pin Output Level */
  HAL_GPIO_WritePin(OTG_FS_PowerSwitchOn_GPIO_Port, OTG_FS_PowerSwitchOn_Pin, GPIO_PIN_SET);

  /*Configure GPIO pin Output Level */
  HAL_GPIO_WritePin(GPIOD, LD4_Pin|LD3_Pin|LD5_Pin|LD6_Pin
                          |Audio_RST_Pin, GPIO_PIN_RESET);

  /*Configure GPIO pin : CS_I2C_SPI_Pin */
  GPIO_InitStruct.Pin = CS_I2C_SPI_Pin;
  GPIO_InitStruct.Mode = GPIO_MODE_OUTPUT_PP;
  GPIO_InitStruct.Pull = GPIO_NOPULL;
  GPIO_InitStruct.Speed = GPIO_SPEED_FREQ_LOW;
  HAL_GPIO_Init(CS_I2C_SPI_GPIO_Port, &GPIO_InitStruct);

  /*Configure GPIO pin : OTG_FS_PowerSwitchOn_Pin */
  GPIO_InitStruct.Pin = OTG_FS_PowerSwitchOn_Pin;
  GPIO_InitStruct.Mode = GPIO_MODE_OUTPUT_PP;
  GPIO_InitStruct.Pull = GPIO_NOPULL;
  GPIO_InitStruct.Speed = GPIO_SPEED_FREQ_LOW;
  HAL_GPIO_Init(OTG_FS_PowerSwitchOn_GPIO_Port, &GPIO_InitStruct);

  /*Configure GPIO pin : B1_Pin */
  GPIO_InitStruct.Pin = B1_Pin;
  GPIO_InitStruct.Mode = GPIO_MODE_EVT_RISING;
  GPIO_InitStruct.Pull = GPIO_NOPULL;
  HAL_GPIO_Init(B1_GPIO_Port, &GPIO_InitStruct);

  /*Configure GPIO pin : BOOT1_Pin */
  GPIO_InitStruct.Pin = BOOT1_Pin;
  GPIO_InitStruct.Mode = GPIO_MODE_INPUT;
  GPIO_InitStruct.Pull = GPIO_NOPULL;
  HAL_GPIO_Init(BOOT1_GPIO_Port, &GPIO_InitStruct);

  /*Configure GPIO pins : LD4_Pin LD3_Pin LD5_Pin LD6_Pin
                           Audio_RST_Pin */
  GPIO_InitStruct.Pin = LD4_Pin|LD3_Pin|LD5_Pin|LD6_Pin
                          |Audio_RST_Pin;
  GPIO_InitStruct.Mode = GPIO_MODE_OUTPUT_PP;
  GPIO_InitStruct.Pull = GPIO_NOPULL;
  GPIO_InitStruct.Speed = GPIO_SPEED_FREQ_LOW;
  HAL_GPIO_Init(GPIOD, &GPIO_InitStruct);

  /*Configure GPIO pin : VBUS_FS_Pin */
  GPIO_InitStruct.Pin = VBUS_FS_Pin;
  GPIO_InitStruct.Mode = GPIO_MODE_INPUT;
  GPIO_InitStruct.Pull = GPIO_NOPULL;
  HAL_GPIO_Init(VBUS_FS_GPIO_Port, &GPIO_InitStruct);

  /*Configure GPIO pins : OTG_FS_ID_Pin OTG_FS_DM_Pin OTG_FS_DP_Pin */
  GPIO_InitStruct.Pin = OTG_FS_ID_Pin|OTG_FS_DM_Pin|OTG_FS_DP_Pin;
  GPIO_InitStruct.Mode = GPIO_MODE_AF_PP;
  GPIO_InitStruct.Pull = GPIO_NOPULL;
  GPIO_InitStruct.Speed = GPIO_SPEED_FREQ_LOW;
  GPIO_InitStruct.Alternate = GPIO_AF10_OTG_FS;
  HAL_GPIO_Init(GPIOA, &GPIO_InitStruct);

  /*Configure GPIO pin : OTG_FS_OverCurrent_Pin */
  GPIO_InitStruct.Pin = OTG_FS_OverCurrent_Pin;
  GPIO_InitStruct.Mode = GPIO_MODE_INPUT;
  GPIO_InitStruct.Pull = GPIO_NOPULL;
  HAL_GPIO_Init(OTG_FS_OverCurrent_GPIO_Port, &GPIO_InitStruct);

  /*Configure GPIO pin : MEMS_INT2_Pin */
  GPIO_InitStruct.Pin = MEMS_INT2_Pin;
  GPIO_InitStruct.Mode = GPIO_MODE_EVT_RISING;
  GPIO_InitStruct.Pull = GPIO_NOPULL;
  HAL_GPIO_Init(MEMS_INT2_GPIO_Port, &GPIO_InitStruct);

}

void Error_Handler(void)
{
  __disable_irq();
  while (1)
  {
  }
}
